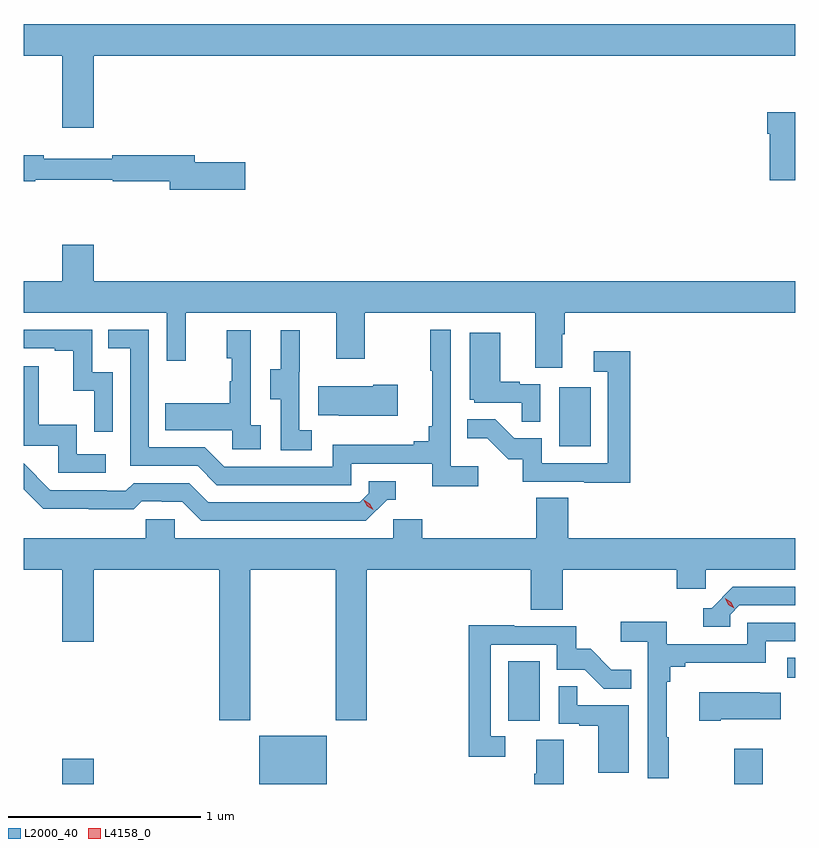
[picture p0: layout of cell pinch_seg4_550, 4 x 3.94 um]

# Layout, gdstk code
import gdstk
lib = gdstk.Library(unit=1e-6, precision=1e-09)
def R(c, l, rs):  # rectangles x0, y0, x1, y1
    for r in rs: c.add(gdstk.rectangle(r[:2], r[2:], *l))
def P(c, l, *ps):  # polygons
    for p in ps: c.add(gdstk.Polygon(p, *l))
L2000_40 = (2000, 40)
L4158_0 = (4158, 0)

pinch_seg4_550 = lib.new_cell('pinch_seg4_550')
R(pinch_seg4_550, L2000_40, [(1088.084,787.718,1088.248,787.849), (1089.104,787.718,1089.454,787.969), (1091.566,787.718,1091.713,787.9), (1090.394,788.046,1090.558,788.353), (1091.841,788.269,1091.883,788.372), (1090.658,789.468,1090.822,789.775)])
P(pinch_seg4_550, L2000_40, [(1088.248,791.492),(1091.883,791.492),(1091.883,791.656),(1087.883,791.656),(1087.883,791.492),(1088.084,791.492),(1088.084,791.118),(1088.248,791.118)],
  [(1091.883,791.2),(1091.738,791.2),(1091.738,791.087),(1091.75,791.087),(1091.75,790.847),(1091.883,790.847)],
  [(1089.031,790.94),(1088.77,790.94),(1088.77,790.976),(1088.344,790.976),(1088.344,790.957),(1087.988,790.957),(1087.988,790.976),(1087.883,790.976),(1087.883,790.84),(1087.944,790.84),(1087.944,790.848),(1088.346,790.848),(1088.346,790.84),(1088.642,790.84),(1088.642,790.798),(1089.031,790.798)],
  [(1090.675,790.048),(1090.688,790.048),(1090.688,790.16),(1091.883,790.16),(1091.883,790.324),(1088.248,790.324),(1088.248,790.513),(1088.084,790.513),(1088.084,790.324),(1087.883,790.324),(1087.883,790.16),(1088.625,790.16),(1088.625,789.912),(1088.723,789.912),(1088.723,790.16),(1089.503,790.16),(1089.503,789.921),(1089.651,789.921),(1089.651,790.16),(1090.535,790.16),(1090.535,789.874),(1090.675,789.874)],
  [(1090.24,789.364),(1090.098,789.364),(1090.098,790.072),(1089.99,790.072),(1089.99,789.859),(1090.001,789.859),(1090.001,789.571),(1089.982,789.571),(1089.982,789.494),(1089.905,789.494),(1089.905,789.475),(1089.486,789.475),(1089.486,789.363),(1088.922,789.363),(1088.823,789.462),(1088.532,789.462),(1088.532,790.071),(1088.323,790.071),(1088.323,789.975),(1088.436,789.975),(1088.436,789.366),(1088.786,789.366),(1088.885,789.267),(1089.582,789.267),(1089.582,789.378),(1090.001,789.378),(1090.001,789.262),(1090.24,789.262)],
  [(1088.346,789.852),(1088.238,789.852),(1088.238,790.071),(1087.883,790.071),(1087.883,789.975),(1088.045,789.975),(1088.045,789.963),(1088.141,789.963),(1088.141,789.755),(1088.25,789.755),(1088.25,789.543),(1088.346,789.543)],
  [(1089.112,789.578),(1089.06,789.578),(1089.06,790.069),(1088.936,790.069),(1088.936,789.924),(1088.962,789.924),(1088.962,789.806),(1088.952,789.806),(1088.952,789.691),(1088.617,789.691),(1088.617,789.551),(1088.964,789.551),(1088.964,789.453),(1089.112,789.453)],
  [(1089.376,789.551),(1089.312,789.551),(1089.312,789.855),(1089.314,789.855),(1089.314,790.069),(1089.215,790.069),(1089.215,789.867),(1089.161,789.867),(1089.161,789.712),(1089.216,789.712),(1089.216,789.448),(1089.376,789.448)],
  [(1090.56,789.789),(1090.454,789.789),(1090.454,789.802),(1090.354,789.802),(1090.354,790.057),(1090.196,790.057),(1090.196,789.708),(1090.218,789.708),(1090.218,789.693),(1090.465,789.693),(1090.465,789.595),(1090.56,789.595)],
  [(1091.027,789.961),(1090.839,789.961),(1090.839,789.855),(1090.911,789.855),(1090.911,789.381),(1090.569,789.381),(1090.569,789.51),(1090.425,789.51),(1090.327,789.608),(1090.183,789.608),(1090.183,789.509),(1090.287,789.509),(1090.394,789.402),(1090.471,789.402),(1090.471,789.285),(1090.789,789.285),(1090.789,789.28),(1091.027,789.28)],
  [(1088.308,789.426),(1088.16,789.426),(1088.16,789.58),(1087.961,789.58),(1087.961,789.883),(1087.883,789.883),(1087.883,789.471),(1088.064,789.471),(1088.064,789.33),(1088.308,789.33)],
  [(1089.823,789.786),(1089.695,789.786),(1089.695,789.778),(1089.409,789.778),(1089.409,789.629),(1089.517,789.629),(1089.517,789.626),(1089.823,789.626)],
  [(1089.768,789.192),(1089.811,789.192),(1089.811,789.288),(1089.672,789.288),(1089.672,789.225),(1089.624,789.177),(1088.841,789.177),(1088.742,789.276),(1088.453,789.276),(1088.414,789.237),(1088.315,789.237),(1088.315,789.24),(1088.022,789.24),(1087.883,789.379),(1087.883,789.244),(1087.984,789.143),(1088.22,789.143),(1088.22,789.141),(1088.453,789.141),(1088.495,789.183),(1088.598,789.183),(1088.598,789.18),(1088.705,789.18),(1088.804,789.081),(1089.657,789.081)],
  [(1089.057,788.828),(1089.502,788.828),(1089.502,788.049),(1089.662,788.049),(1089.662,788.828),(1090.511,788.828),(1090.511,788.62),(1090.676,788.62),(1090.676,788.828),(1091.267,788.828),(1091.267,788.73),(1091.418,788.73),(1091.418,788.828),(1091.883,788.828),(1091.883,788.992),(1090.706,788.992),(1090.706,789.2),(1090.541,789.2),(1090.541,788.992),(1089.95,788.992),(1089.95,789.09),(1089.798,789.09),(1089.798,788.992),(1088.667,788.992),(1088.667,789.09),(1088.517,789.09),(1088.517,788.992),(1087.883,788.992),(1087.883,788.828),(1088.084,788.828),(1088.084,788.454),(1088.248,788.454),(1088.248,788.828),(1088.897,788.828),(1088.897,788.049),(1089.057,788.049)],
  [(1091.544,788.595),(1091.592,788.643),(1091.883,788.643),(1091.883,788.739),(1091.559,788.739),(1091.448,788.628),(1091.405,788.628),(1091.405,788.532),(1091.544,788.532)],
  [(1091.227,787.961),(1091.215,787.961),(1091.215,788.249),(1091.234,788.249),(1091.234,788.326),(1091.311,788.326),(1091.311,788.345),(1091.73,788.345),(1091.73,788.457),(1091.883,788.457),(1091.883,788.553),(1091.634,788.553),(1091.634,788.442),(1091.216,788.442),(1091.216,788.558),(1090.977,788.558),(1090.977,788.456),(1091.118,788.456),(1091.118,787.749),(1091.227,787.749)],
  [(1090.378,787.965),(1090.305,787.965),(1090.305,788.439),(1090.647,788.439),(1090.647,788.31),(1090.791,788.31),(1090.889,788.212),(1091.033,788.212),(1091.033,788.311),(1090.929,788.311),(1090.822,788.418),(1090.746,788.418),(1090.746,788.535),(1090.427,788.535),(1090.427,788.54),(1090.189,788.54),(1090.189,787.86),(1090.378,787.86)],
  [(1091.02,788.127),(1090.751,788.127),(1090.751,788.225),(1090.656,788.225),(1090.656,788.031),(1090.763,788.031),(1090.763,788.019),(1090.862,788.019),(1090.862,787.776),(1091.02,787.776)],
  [(1091.497,788.054),(1091.807,788.054),(1091.807,788.191),(1091.699,788.191),(1091.699,788.194),(1091.385,788.194),(1091.385,788.047),(1091.497,788.047)],
  [(1090.681,787.946),(1090.541,787.946),(1090.541,787.772),(1090.529,787.772),(1090.529,787.718),(1090.681,787.718)])
P(pinch_seg4_550, L4158_0, [(1089.694,789.138),(1089.663,789.157),(1089.646,789.189),(1089.646,789.19),(1089.646,789.19),(1089.678,789.171),(1089.694,789.138),(1089.694,789.138)],
  [(1091.566,788.628),(1091.535,788.647),(1091.519,788.679),(1091.519,788.68),(1091.52,788.68),(1091.55,788.66),(1091.566,788.628),(1091.566,788.628)])

lib.write_gds('pinch_seg4_550.gds')
